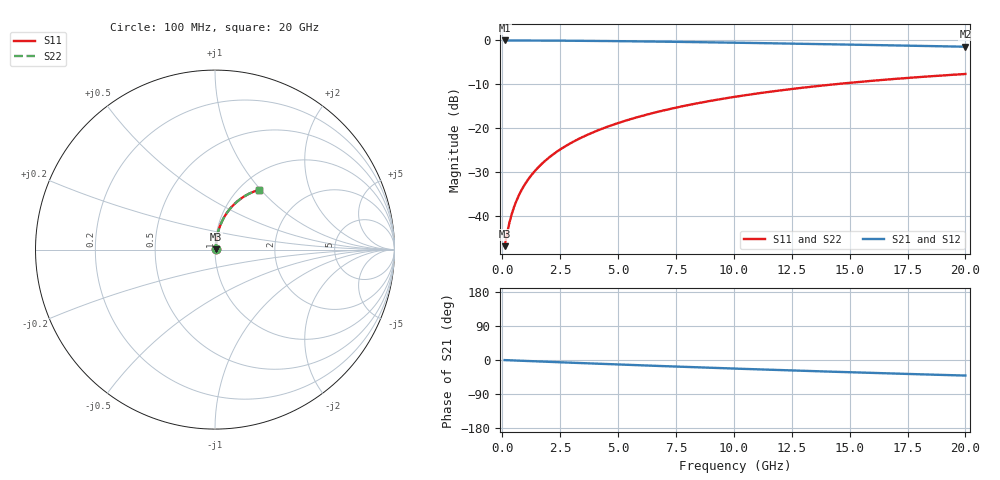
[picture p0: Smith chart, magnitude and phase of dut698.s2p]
! Touchstone file exported from HFSS 2024.1.0
!  File:  C:/UserFiles/LocalFiles/RDL_TSV_Batchsim/temp_RDL_bottom_698_1779787314.aedt
!  Generated:  05:24:34 PM May 26, 2026
!  Design:  RDL_bottom
!  Project:  temp_RDL_bottom_698_1779787314
!  Setup:  Setup1
!  Solution:  Sweep
! Variables:
!  dtsv = 10.80580581um
!  hbump = 3um
!  htsv = 99.96um
!  ldown = 561.95um
!  lrdl = 100um
!  p = 40
!  p1 = 45.31um
!  rhole = 1um
!  t = 450um
!  tdown = 3.3um
!  trdl = 3.915915916um
!  wdown = 16.06um
!  wrdl = 20um
# GHz S MA R 50.000000
! Terminal data exported
! Port[1] = RDL1_T1
! Port[2] = RDL1_T2
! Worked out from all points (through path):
!   200 points, 100 MHz to 20 GHz, reference 50 ohm
!   highest |S21| = -0.03 dB at 100 MHz (marker M1); lowest = -1.5 dB at 20 GHz (marker M2)
!   group delay of S21, straight-line fit = 5.69 ps
!   lowest |S11| = -46.8 dB at 100 MHz (marker M3), VSWR 1.01, Z = 50.4 + j0.246 ohm
!   |S11| at or under -10 dB: start of sweep to 14.33 GHz
!   |S22| runs from -46.8 to -7.7 dB; largest |S21 - S12| = 2.7e-15
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0.1  0.004595 32.2  0.9961 -0.3  0.9961 -0.3  0.004595 32.2
! Gamma 0 0 0 0
! Port Impedance 50 0 50 0
0.2  0.00629 50.5  0.996 -0.5  0.996 -0.5  0.00629 50.5
0.3  0.008322 60.1  0.9958 -0.7  0.9958 -0.7  0.008322 60.1
0.4  0.01046 65.7  0.9957 -1.0  0.9957 -1.0  0.01046 65.7
0.5  0.01263 69.3  0.9955 -1.2  0.9955 -1.2  0.01263 69.3
0.6  0.01482 71.9  0.9954 -1.5  0.9954 -1.5  0.01482 71.9
0.8  0.01923 75.2  0.995 -1.9  0.995 -1.9  0.01923 75.2
1.1  0.02591 78.0  0.9945 -2.7  0.9945 -2.7  0.02591 78.0
1.3  0.0304 79.1  0.9941 -3.1  0.9941 -3.1  0.0304 79.1
1.6  0.03716 80.2  0.9935 -3.9  0.9935 -3.9  0.03716 80.2
2.1  0.0485 81.0  0.9921 -5.0  0.9921 -5.0  0.0485 81.0
2.7  0.06218 81.2  0.9901 -6.5  0.9901 -6.5  0.06218 81.2
3.5  0.08048 80.9  0.9867 -8.3  0.9867 -8.3  0.08048 80.9
4.2  0.09653 80.2  0.9831 -10.0  0.9831 -10.0  0.09654 80.2
5  0.1149 79.2  0.9785 -11.8  0.9785 -11.8  0.1149 79.2
5.9  0.1355 78.0  0.9726 -13.8  0.9726 -13.8  0.1355 78.0
6.8  0.156 76.6  0.9662 -15.8  0.9662 -15.8  0.156 76.6
8.4  0.1921 73.9  0.9536 -19.2  0.9536 -19.2  0.1921 73.9
10.1  0.2295 70.9  0.9391 -22.8  0.9391 -22.8  0.2295 70.9
13.4  0.298 65.0  0.9088 -29.3  0.9088 -29.3  0.2981 65.0
16.7  0.3599 59.1  0.8773 -35.4  0.8773 -35.4  0.36 59.1
20  0.4144 53.5  0.8457 -41.1  0.8457 -41.1  0.4144 53.5
